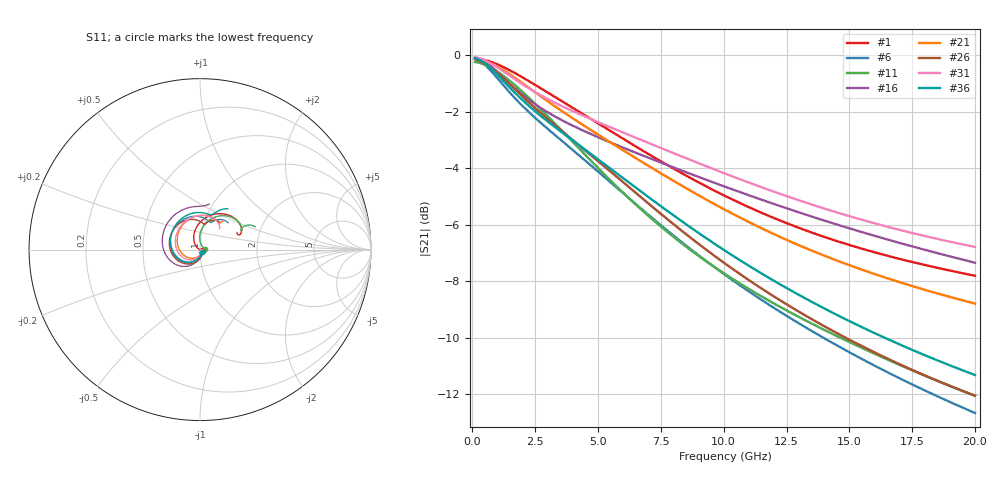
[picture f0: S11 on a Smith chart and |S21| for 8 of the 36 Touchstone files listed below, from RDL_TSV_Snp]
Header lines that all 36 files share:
! Touchstone file exported from HFSS 2023.1.0
!  Design:  RDL_TSV
!  Setup:  Setup1
!  Solution:  Sweep
! Variables:
# GHz S MA R 50.000000
! Terminal data exported
! Port[1] = TM1_1_T1
! Port[2] = TM1_4_T1
Fixed: hbump = 3um, p = 40, rhole = 10um, t = 450um, viad = 10um, xbump = 18um
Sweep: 100 MHz to 20 GHz
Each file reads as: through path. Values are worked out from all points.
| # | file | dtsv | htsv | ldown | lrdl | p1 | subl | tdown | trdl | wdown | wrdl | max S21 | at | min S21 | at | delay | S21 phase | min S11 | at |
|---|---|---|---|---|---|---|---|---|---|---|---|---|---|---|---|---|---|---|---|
| 1 | dut1.s2p | 11.92um | 60.97um | 517.38um | 246.17um | 44.59um | 2536.82um | 4.41um | 3.69um | 16.75um | 25.58um | -0.11 dB | 100 MHz | -7.8 dB | 20 GHz | 22.8 ps | -104 deg at 10.1 GHz | -63.0 dB | 800 MHz |
| 2 | dut6.s2p | 26.78um | 67.69um | 306.68um | 253.65um | 56.5um | 1934.64um | 2.06um | 3.76um | 29.39um | 18.08um | -0.11 dB | 100 MHz | -7.1 dB | 20 GHz | 24.8 ps | -107 deg at 10.1 GHz | -35.5 dB | 100 MHz |
| 3 | dut7.s2p | 19.44um | 93.51um | 675.4um | 310.63um | 59.68um | 3268.72um | 4.01um | 2.41um | 27.31um | 20.36um | -0.15 dB | 100 MHz | -12.8 dB | 20 GHz | 33.3 ps | -154 deg at 10.1 GHz | -34.9 dB | 100 MHz |
| 4 | dut11.s2p | 21.3um | 66.91um | 590.39um | 149.03um | 53.07um | 2367.29um | 2.63um | 4.45um | 21.5um | 18.2um | -0.13 dB | 100 MHz | -9.0 dB | 20 GHz | 25.4 ps | -115 deg at 10.1 GHz | -36.4 dB | 100 MHz |
| 5 | dut18.s2p | 17.7um | 88.31um | 115.34um | 390.72um | 57.46um | 1908.9um | 3.42um | 4.2um | 29.82um | 27.08um | -0.07 dB | 100 MHz | -8.1 dB | 20 GHz | 20.8 ps | -96 deg at 10.1 GHz | -37.7 dB | 100 MHz |
| 6 | dut19.s2p | 22.77um | 92.83um | 692.29um | 302.28um | 54.37um | 3285.99um | 4.72um | 3.64um | 21.59um | 28.73um | -0.12 dB | 100 MHz | -12.7 dB | 20 GHz | 35.8 ps | -161 deg at 10.1 GHz | -35.0 dB | 100 MHz |
| 7 | dut37.s2p | 24.33um | 50.87um | 112.4um | 639.81um | 55.11um | 2896.44um | 4.7um | 4.32um | 29.13um | 27.81um | -0.09 dB | 100 MHz | -8.5 dB | 20 GHz | 27.5 ps | -121 deg at 10.1 GHz | -39.0 dB | 100 MHz |
| 8 | dut38.s2p | 20.21um | 70.01um | 475.28um | 678.4um | 48.11um | 4139.44um | 3.05um | 3.71um | 13.21um | 27.17um | -0.20 dB | 100 MHz | -12.6 dB | 20 GHz | 39.9 ps | -176 deg at 10.1 GHz | -33.2 dB | 100 MHz |
| 9 | dut42.s2p | 10.49um | 61.42um | 359.66um | 406um | 45.34um | 2702.98um | 3.83um | 4.3um | 28.24um | 13.85um | -0.12 dB | 100 MHz | -8.1 dB | 20 GHz | 24.3 ps | -110 deg at 10.1 GHz | -37.2 dB | 600 MHz |
| 10 | dut44.s2p | 10.72um | 88.04um | 420.54um | 304.54um | 54.21um | 2479.78um | 4.33um | 4.94um | 24.39um | 13.09um | -0.11 dB | 100 MHz | -9.3 dB | 20 GHz | 24.8 ps | -116 deg at 10.1 GHz | -60.3 dB | 700 MHz |
| 11 | dut49.s2p | 12.33um | 89.3um | 646.48um | 322.25um | 52.16um | 3228.44um | 2.75um | 2.72um | 11.9um | 24.67um | -0.25 dB | 100 MHz | -12.1 dB | 20 GHz | 31.4 ps | -145 deg at 10.1 GHz | -33.0 dB | 700 MHz |
| 12 | dut53.s2p | 23.72um | 99.7um | 523.38um | 246.86um | 57.84um | 2557.58um | 3.83um | 3.14um | 26.62um | 15.08um | -0.13 dB | 100 MHz | -11.7 dB | 20 GHz | 31.5 ps | -143 deg at 10.1 GHz | -33.8 dB | 100 MHz |
| 13 | dut54.s2p | 20.13um | 59.52um | 176.93um | 590.91um | 46.23um | 2894.43um | 3.95um | 2.18um | 21.09um | 21.1um | -0.19 dB | 100 MHz | -9.0 dB | 20 GHz | 29.6 ps | -129 deg at 10.1 GHz | -33.7 dB | 100 MHz |
| 14 | dut55.s2p | 20.46um | 57.64um | 662.58um | 693.6um | 54.29um | 4762.14um | 4.02um | 2.24um | 15.28um | 27.35um | -0.25 dB | 100 MHz | -14.2 dB | 20 GHz | 42 ps | 171 deg at 10.1 GHz | -36.7 dB | 700 MHz |
| 15 | dut57.s2p | 20.61um | 96.62um | 528.74um | 114.09um | 50.24um | 2042.58um | 3.87um | 4.45um | 14.64um | 29.47um | -0.11 dB | 100 MHz | -9.8 dB | 20 GHz | 26.4 ps | -119 deg at 10.1 GHz | -35.2 dB | 100 MHz |
| 16 | dut60.s2p | 19.48um | 94.79um | 164.47um | 314.76um | 42.5um | 1752.45um | 3.47um | 4.92um | 19.18um | 14.18um | -0.09 dB | 100 MHz | -7.3 dB | 20 GHz | 24.9 ps | -107 deg at 10.1 GHz | -35.9 dB | 100 MHz |
| 17 | dut63.s2p | 10.75um | 80.56um | 538.35um | 307.89um | 49.15um | 2846.61um | 2.34um | 2.63um | 28.61um | 14.68um | -0.18 dB | 100 MHz | -9.6 dB | 20 GHz | 27.5 ps | -126 deg at 10.1 GHz | -52.0 dB | 1 GHz |
| 18 | dut64.s2p | 21.89um | 52.66um | 647.79um | 534.51um | 52.58um | 4081.41um | 4.42um | 4.94um | 22.42um | 23.59um | -0.13 dB | 100 MHz | -11.5 dB | 20 GHz | 36.2 ps | -161 deg at 10.1 GHz | -42.6 dB | 600 MHz |
| 19 | dut71.s2p | 17.31um | 59.72um | 654.76um | 541.21um | 50.32um | 4129.12um | 2.76um | 3.93um | 10.98um | 15.45um | -0.31 dB | 100 MHz | -12.9 dB | 20 GHz | 37.2 ps | -168 deg at 10.1 GHz | -29.2 dB | 100 MHz |
| 20 | dut72.s2p | 25.07um | 58.65um | 514.37um | 422.31um | 57.66um | 3232.35um | 4.22um | 3.52um | 18.43um | 26.84um | -0.13 dB | 100 MHz | -10.7 dB | 20 GHz | 32.2 ps | -144 deg at 10.1 GHz | -36.8 dB | 100 MHz |
| 21 | dut74.s2p | 11.57um | 89.86um | 222.88um | 564.37um | 40.71um | 2926.12um | 3.61um | 4.72um | 20.75um | 27.11um | -0.11 dB | 100 MHz | -8.8 dB | 20 GHz | 27.4 ps | -123 deg at 10.1 GHz | -39.4 dB | 100 MHz |
| 22 | dut75.s2p | 21.44um | 51.77um | 437.12um | 660.11um | 48.48um | 3951.8um | 2.58um | 2.32um | 21.81um | 11.42um | -0.37 dB | 100 MHz | -12.0 dB | 20 GHz | 38.8 ps | -168 deg at 10.1 GHz | -27.7 dB | 100 MHz |
| 23 | dut77.s2p | 14.5um | 70um | 151.07um | 634.86um | 43.78um | 2992.65um | 2.73um | 4.86um | 27.18um | 23.89um | -0.10 dB | 100 MHz | -8.8 dB | 20 GHz | 27.3 ps | -122 deg at 10.1 GHz | -38.9 dB | 100 MHz |
| 24 | dut82.s2p | 16.15um | 83.93um | 581.53um | 665.95um | 40.72um | 4408.39um | 4.88um | 3.09um | 21.5um | 28.04um | -0.16 dB | 100 MHz | -11.9 dB | 20 GHz | 40.2 ps | -176 deg at 10.1 GHz | -34.7 dB | 100 MHz |
| 25 | dut87.s2p | 11.05um | 74.47um | 465.42um | 576.11um | 50.29um | 3700.7um | 2.16um | 2.98um | 22.78um | 29.1um | -0.18 dB | 100 MHz | -11.0 dB | 20 GHz | 32.8 ps | -148 deg at 10.1 GHz | -53.4 dB | 1 GHz |
| 26 | dut91.s2p | 15.13um | 98.6um | 683.13um | 568.17um | 40.8um | 4322.07um | 3.72um | 3.49um | 27.71um | 28.75um | -0.15 dB | 100 MHz | -12.1 dB | 20 GHz | 39.5 ps | -174 deg at 10.1 GHz | -34.6 dB | 100 MHz |
| 27 | dut92.s2p | 15.47um | 80.12um | 530.84um | 608.27um | 41.98um | 4025.6um | 2.81um | 3.47um | 21.32um | 26um | -0.18 dB | 100 MHz | -11.5 dB | 20 GHz | 37.1 ps | -164 deg at 10.1 GHz | -34.1 dB | 100 MHz |
| 28 | dut93.s2p | 21.82um | 69.64um | 171.73um | 459.58um | 55.59um | 2353.51um | 4.44um | 3.96um | 23.24um | 17.8um | -0.11 dB | 100 MHz | -9.3 dB | 20 GHz | 25.7 ps | -116 deg at 10.1 GHz | -37.6 dB | 100 MHz |
| 29 | dut101.s2p | 16.7um | 93.85um | 555.89um | 652.03um | 44.43um | 4275.79um | 2.21um | 2.1um | 16.27um | 22.33um | -0.32 dB | 100 MHz | -14.1 dB | 20 GHz | 42.9 ps | 169 deg at 10.1 GHz | -31.8 dB | 900 MHz |
| 30 | dut102.s2p | 18.56um | 79.02um | 120.13um | 639.95um | 56.39um | 2920.19um | 3.29um | 4.57um | 24.02um | 27.2um | -0.09 dB | 100 MHz | -10.3 dB | 20 GHz | 28.3 ps | -129 deg at 10.1 GHz | -38.2 dB | 100 MHz |
| 31 | dut103.s2p | 18.35um | 63.59um | 386.3um | 212.92um | 44.61um | 2010.58um | 3.72um | 4.86um | 20.23um | 28.28um | -0.08 dB | 100 MHz | -6.8 dB | 20 GHz | 21 ps | -93 deg at 10.1 GHz | -39.2 dB | 100 MHz |
| 32 | dut105.s2p | 17.59um | 99.46um | 251.47um | 253.91um | 57.89um | 1770.05um | 3.22um | 2.21um | 21.04um | 25.9um | -0.10 dB | 100 MHz | -8.8 dB | 20 GHz | 21.5 ps | -101 deg at 10.1 GHz | -35.9 dB | 100 MHz |
| 33 | dut106.s2p | 14.43um | 96.96um | 623.6um | 371.77um | 42.28um | 3357.88um | 4.75um | 4.05um | 16.61um | 29.51um | -0.13 dB | 100 MHz | -11.2 dB | 20 GHz | 33 ps | -148 deg at 10.1 GHz | -36.6 dB | 100 MHz |
| 34 | dut108.s2p | 17.66um | 50.71um | 562.39um | 675.2um | 52.67um | 4387.97um | 4.54um | 4.74um | 28.69um | 15.51um | -0.16 dB | 100 MHz | -12.3 dB | 20 GHz | 37 ps | -166 deg at 10.1 GHz | -34.8 dB | 100 MHz |
| 35 | dut110.s2p | 17.02um | 85.73um | 405.46um | 583.16um | 55.2um | 3549.02um | 3.14um | 2.77um | 12.54um | 18.31um | -0.24 dB | 100 MHz | -13.4 dB | 20 GHz | 35.4 ps | -163 deg at 10.1 GHz | -49.6 dB | 800 MHz |
| 36 | dut114.s2p | 21.38um | 85.7um | 326.18um | 590.56um | 49.81um | 3340.78um | 4.51um | 4.57um | 22.02um | 25.69um | -0.11 dB | 100 MHz | -11.3 dB | 20 GHz | 35.1 ps | -155 deg at 10.1 GHz | -36.0 dB | 100 MHz |
